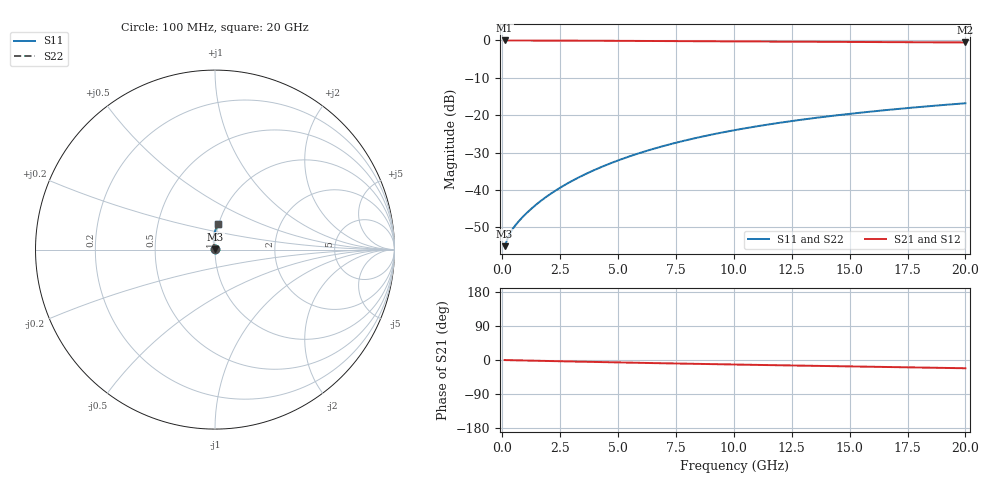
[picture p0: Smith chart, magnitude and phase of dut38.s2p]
! Touchstone file exported from HFSS 2024.1.0
!  File:  C:/UserFiles/LocalFiles/RDL_TSV_Batchsim/temp_RDL_bottom_38_1778692458.aedt
!  Generated:  01:16:34 AM May 14, 2026
!  Design:  RDL_bottom
!  Project:  temp_RDL_bottom_38_1778692458
!  Setup:  Setup1
!  Solution:  Sweep
! Variables:
!  dtsv = 10.80580581um
!  hbump = 3um
!  htsv = 94.08um
!  ldown = 349.47um
!  lrdl = 100um
!  p = 40
!  p1 = 42.16um
!  rhole = 1um
!  t = 450um
!  tdown = 3.08um
!  trdl = 3.915915916um
!  wdown = 29.89um
!  wrdl = 20um
# GHz S MA R 50.000000
! Terminal data exported
! Port[1] = RDL1_T1
! Port[2] = RDL1_T2
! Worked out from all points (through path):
!   200 points, 100 MHz to 20 GHz, reference 50 ohm
!   highest |S21| = -0.01 dB at 100 MHz (marker M1); lowest = -0.6 dB at 20 GHz (marker M2)
!   group delay of S21, straight-line fit = 2.97 ps
!   lowest |S11| = -55.0 dB at 100 MHz (marker M3), VSWR 1.00, Z = 50.2 + j0.0615 ohm
!   |S11| at or under -10 dB: start of sweep to end of sweep
!   |S22| runs from -55.0 to -16.8 dB; largest |S21 - S12| = 3.1e-15
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0.1  0.001771 20.2  0.9983 -0.1  0.9983 -0.1  0.001771 20.2
! Gamma 0 0 0 0
! Port Impedance 50 0 50 0
0.2  0.002126 32.8  0.9982 -0.3  0.9982 -0.3  0.002126 32.8
0.3  0.002502 40.0  0.998 -0.4  0.998 -0.4  0.002502 40.0
0.4  0.002847 45.0  0.9978 -0.6  0.9978 -0.6  0.002847 45.0
0.5  0.003167 49.1  0.9977 -0.7  0.9977 -0.7  0.003167 49.1
0.8  0.004091 59.2  0.9973 -1.1  0.9973 -1.1  0.004091 59.2
1.2  0.005415 69.4  0.9968 -1.6  0.9968 -1.6  0.005415 69.4
1.7  0.007281 78.4  0.996 -2.3  0.996 -2.3  0.007281 78.4
2.2  0.009369 84.6  0.995 -2.9  0.995 -2.9  0.009369 84.6
2.8  0.01215 89.9  0.9935 -3.7  0.9935 -3.7  0.01215 89.9
3.5  0.01578 94.0  0.9915 -4.6  0.9915 -4.6  0.01578 94.0
4.2  0.0198 96.7  0.9892 -5.4  0.9892 -5.4  0.01979 96.7
5  0.02482 98.5  0.9864 -6.4  0.9864 -6.4  0.02482 98.5
5.9  0.03095 99.5  0.983 -7.5  0.983 -7.5  0.03094 99.5
6.8  0.03749 99.6  0.9795 -8.5  0.9795 -8.5  0.03748 99.6
8.4  0.04985 98.7  0.9733 -10.2  0.9733 -10.2  0.04984 98.7
10.1  0.06361 96.7  0.9671 -12.0  0.9671 -12.0  0.0636 96.7
11.7  0.07684 94.5  0.9616 -13.7  0.9616 -13.7  0.07683 94.5
13.4  0.09095 91.9  0.9562 -15.4  0.9562 -15.4  0.09094 91.9
15  0.1042 89.5  0.9515 -16.9  0.9515 -16.9  0.1041 89.5
16.7  0.118 87.0  0.9468 -18.6  0.9468 -18.6  0.118 87.0
20  0.1443 82.2  0.9382 -21.8  0.9382 -21.8  0.1443 82.2
